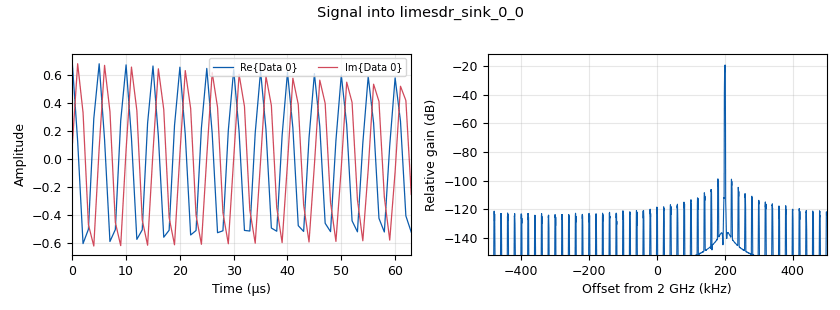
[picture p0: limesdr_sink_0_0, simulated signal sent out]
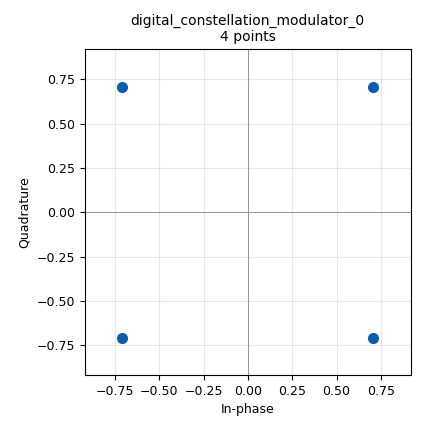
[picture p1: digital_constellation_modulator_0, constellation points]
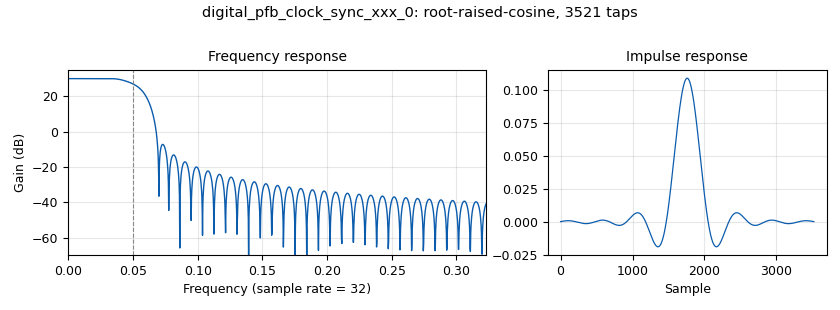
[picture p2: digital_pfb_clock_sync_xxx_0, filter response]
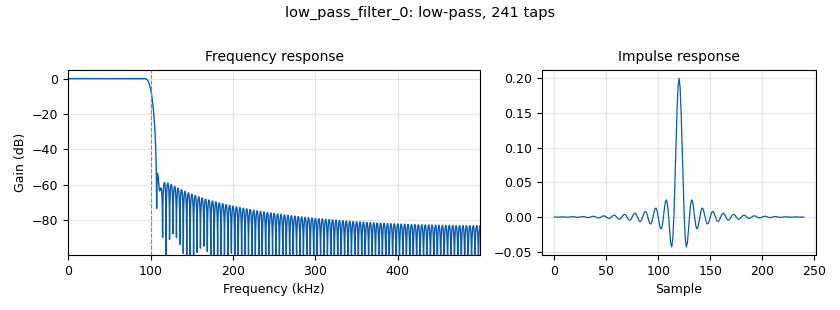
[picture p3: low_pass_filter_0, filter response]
options:
  parameters:
    generate_options: qt_gui
    id: top_block
    output_language: python
  states: {}

blocks:
- name: arity
  id: variable
  parameters:
    value: '4'
  states: {}
- name: center_freq
  id: variable_qtgui_range
  parameters:
    label: Center Frequency
    orient: Qt.Horizontal
    start: 700e6
    step: 20e6
    stop: 3000e6
    value: 2e9
  states: {}
- name: eq_gain
  id: variable_qtgui_range
  parameters:
    orient: Qt.Horizontal
    start: '0'
    step: '1e-3'
    stop: '1'
    value: '10e-3'
  states: {}
- name: excess_bw
  id: variable
  parameters:
    value: '0.35'
  states: {}
- name: nfilts
  id: variable
  parameters:
    value: '32'
  states: {}
- name: phase_bw
  id: variable_qtgui_range
  parameters:
    orient: Qt.Horizontal
    start: '0'
    step: '1e-3'
    stop: '2'
    value: '200e-3'
  states: {}
- name: qpsk
  id: variable_constellation_rect
  parameters:
    const_points: '[0.707+0.707j, -0.707+0.707j, -0.707-0.707j, 0.707-0.707j]'
    imag_sect: '2'
    real_sect: '2'
    rot_sym: '4'
    sym_map: '[0, 1, 2, 3]'
    w_imag_sect: '1'
    w_real_sect: '1'
  states: {}
- name: qpsk
  id: variable_constellation_rect
  parameters:
    const_points: '[2, -2]'
    imag_sect: '2'
    real_sect: '2'
    rot_sym: '4'
    sym_map: '[0, 1]'
    w_imag_sect: '1'
    w_real_sect: '1'
  states: {state: disabled}
- name: rrc_taps
  id: variable_rrc_filter_taps
  parameters:
    alpha: '0.35'
    gain: '1.0'
    ntaps: '300'
    samp_rate: samp_rate
    sym_rate: samp_rate/sps
  states: {state: disabled}
- name: rrc_taps
  id: variable
  parameters:
    value: firdes.root_raised_cosine(nfilts, nfilts, 1.0/float(sps), 0.35, 11*sps*nfilts)
  states: {}
- name: rx_gain
  id: variable_qtgui_range
  parameters:
    label: Rx Gain
    orient: Qt.Horizontal
    rangeType: int
    start: '0'
    step: '1'
    stop: '60'
    value: '53'
  states: {}
- name: samp_rate
  id: variable
  parameters:
    value: 1e6
  states: {}
- name: signal_bandwidth
  id: variable
  parameters:
    value: 100e3
  states: {}
- name: sps
  id: variable
  parameters:
    value: '10'
  states: {}
- name: taps_0
  id: variable
  parameters:
    value: '[1.0 + 0.0j, ]'
  states: {state: disabled}
- name: timing_loop_bw
  id: variable_qtgui_range
  parameters:
    orient: Qt.Horizontal
    start: '0'
    step: '10e-3'
    stop: '1'
    value: '62.8e-3'
  states: {}
- name: tone_freq_offset
  id: variable_qtgui_range
  parameters:
    min_len: '1000'
    orient: Qt.Horizontal
    start: '0'
    step: 1e3
    stop: 4*signal_bandwidth
    value: 2*signal_bandwidth
  states: {}
- name: tx_gain
  id: variable_qtgui_range
  parameters:
    label: Tx Gain
    orient: Qt.Horizontal
    rangeType: int
    start: '0'
    step: '1'
    stop: '60'
    value: '53'
  states: {}
- name: analog_random_source_x_0
  id: analog_random_source_x
  parameters:
    max: '256'
    min: '0'
    num_samps: '1000'
    repeat: 'True'
    type: byte
  states: {}
- name: analog_sig_source_x_0
  id: analog_sig_source_x
  parameters:
    amp: '1'
    freq: tone_freq_offset
    offset: '0'
    phase: '0'
    samp_rate: samp_rate
    type: complex
    waveform: analog.GR_COS_WAVE
  states: {}
- name: analog_sig_source_x_0_0
  id: analog_sig_source_x
  parameters:
    amp: '1'
    freq: '-tone_freq_offset'
    offset: '0'
    phase: '0'
    samp_rate: samp_rate
    type: complex
    waveform: analog.GR_COS_WAVE
  states: {}
- name: blocks_multiply_xx_0
  id: blocks_multiply_xx
  parameters:
    type: complex
  states: {}
- name: blocks_multiply_xx_0_0
  id: blocks_multiply_xx
  parameters:
    type: complex
  states: {}
- name: digital_cma_equalizer_cc_0
  id: digital_cma_equalizer_cc
  parameters:
    modulus: '1'
    mu: eq_gain
    num_taps: '32'
    sps: '1'
  states: {state: disabled}
- name: digital_constellation_modulator_0
  id: digital_constellation_modulator
  parameters:
    constellation: qpsk
    differential: 'True'
    excess_bw: excess_bw
    samples_per_symbol: sps
  states: {}
- name: digital_costas_loop_cc_0
  id: digital_costas_loop_cc
  parameters:
    order: arity
    w: phase_bw
  states: {}
- name: digital_lms_dd_equalizer_cc_0
  id: digital_lms_dd_equalizer_cc
  parameters:
    cnst: qpsk
    mu: '8e-3'
    num_taps: '8'
    sps: sps
  states: {state: disabled}
- name: digital_pfb_clock_sync_xxx_0
  id: digital_pfb_clock_sync_xxx
  parameters:
    filter_size: nfilts
    init_phase: nfilts/2
    loop_bw: timing_loop_bw
    max_dev: '1.5'
    osps: '1'
    sps: sps*1.000
    taps: rrc_taps
    type: ccf
  states: {}
- name: digital_symbol_sync_xx_0
  id: digital_symbol_sync_xx
  parameters:
    damping: '1.0'
    loop_bw: '0.045'
    max_dev: '1.5'
    osps: '1'
    resamp_type: digital.IR_MMSE_8TAP
    sps: sps
    ted_gain: '1.0'
    ted_type: digital.TED_MUELLER_AND_MULLER
    type: cc
  states: {state: disabled}
- name: interp_fir_filter_xxx_0
  id: interp_fir_filter_xxx
  parameters:
    interp: '50'
    taps: rrc_taps
    type: ccc
  states: {}
- name: limesdr_sink_0
  id: limesdr_sink
  parameters:
    allow_tcxo_dac: '0'
    channel_mode: '0'
    gain_dB_ch0: tx_gain
    oversample: '0'
    rf_freq: 100e6
    samp_rate: samp_rate
  states: {state: disabled}
- name: limesdr_sink_0_0
  id: limesdr_sink
  parameters:
    allow_tcxo_dac: '0'
    analog_bandw_ch0: 5*samp_rate
    channel_mode: '0'
    gain_dB_ch0: tx_gain
    oversample: '0'
    rf_freq: center_freq
    samp_rate: samp_rate
  states: {}
- name: limesdr_source_0
  id: limesdr_source
  parameters:
    allow_tcxo_dac: '0'
    ch_align: 'False'
    channel_mode: '0'
    gain_dB_ch0: rx_gain
    oversample: '0'
    rf_freq: 100e6
    samp_rate: samp_rate
  states: {state: disabled}
- name: limesdr_source_0_0
  id: limesdr_source
  parameters:
    allow_tcxo_dac: '0'
    analog_bandw_ch0: 5*samp_rate
    ch_align: 'False'
    channel_mode: '0'
    gain_dB_ch0: rx_gain
    oversample: '0'
    rf_freq: center_freq
    samp_rate: samp_rate
  states: {}
- name: low_pass_filter_0
  id: low_pass_filter
  parameters:
    cutoff_freq: signal_bandwidth
    decim: '50'
    gain: '1'
    samp_rate: samp_rate
    type: fir_filter_ccf
    width: 10e3
    win: firdes.WIN_HAMMING
  states: {}
- name: note_0
  id: note
  parameters:
    note: esta variable sps debe siempre de ser igual a samp_rate/signal_bandwidth
  states: {}
- name: qtgui_const_sink_x_0
  id: qtgui_const_sink_x
  parameters:
    alpha1: '0.6'
    label1: Locked
    name: '"Salida del Costas loop"'
    size: '1024'
    type: complex
  states: {}
- name: qtgui_const_sink_x_0_0
  id: qtgui_const_sink_x
  parameters:
    alpha1: '0.6'
    label1: Equalized
    name: '"Salida del equalizador"'
    size: '1024'
    type: complex
  states: {state: disabled}
- name: qtgui_freq_sink_x_0
  id: qtgui_freq_sink_x
  parameters:
    alpha1: '0.5'
    bw: samp_rate
    fc: '0'
    fftsize: '1024'
    grid: 'True'
    label1: Tx
    showports: 'True'
    type: complex
    units: dBm
    wintype: firdes.WIN_HAMMING
  states: {state: disabled}
- name: qtgui_freq_sink_x_0_0
  id: qtgui_freq_sink_x
  parameters:
    alpha1: '0.5'
    bw: samp_rate
    fc: '0'
    fftsize: '1024'
    grid: 'True'
    label1: Tx
    showports: 'True'
    type: complex
    units: dBm
    wintype: firdes.WIN_HAMMING
  states: {state: disabled}
- name: rational_resampler_xxx_0
  id: rational_resampler_xxx
  parameters:
    decim: '1'
    interp: '1'
    taps: ''
    type: ccc
  states: {state: disabled}

connections:
- [analog_random_source_x_0, '0', digital_constellation_modulator_0, '0']
- [analog_sig_source_x_0, '0', blocks_multiply_xx_0, '1']
- [analog_sig_source_x_0_0, '0', blocks_multiply_xx_0_0, '1']
- [blocks_multiply_xx_0, '0', limesdr_sink_0_0, '0']
- [blocks_multiply_xx_0, '0', qtgui_freq_sink_x_0_0, '0']
- [blocks_multiply_xx_0_0, '0', low_pass_filter_0, '0']
- [digital_cma_equalizer_cc_0, '0', digital_costas_loop_cc_0, '0']
- [digital_cma_equalizer_cc_0, '0', qtgui_const_sink_x_0_0, '0']
- [digital_cma_equalizer_cc_0, '0', qtgui_freq_sink_x_0, '0']
- [digital_constellation_modulator_0, '0', interp_fir_filter_xxx_0, '0']
- [digital_costas_loop_cc_0, '0', digital_lms_dd_equalizer_cc_0, '0']
- [digital_costas_loop_cc_0, '0', qtgui_const_sink_x_0, '0']
- [digital_lms_dd_equalizer_cc_0, '0', qtgui_const_sink_x_0, '0']
- [digital_pfb_clock_sync_xxx_0, '0', digital_cma_equalizer_cc_0, '0']
- [digital_pfb_clock_sync_xxx_0, '0', digital_costas_loop_cc_0, '0']
- [digital_pfb_clock_sync_xxx_0, '0', rational_resampler_xxx_0, '0']
- [interp_fir_filter_xxx_0, '0', blocks_multiply_xx_0, '0']
- [limesdr_source_0_0, '0', blocks_multiply_xx_0_0, '0']
- [low_pass_filter_0, '0', digital_pfb_clock_sync_xxx_0, '0']
- [rational_resampler_xxx_0, '0', digital_costas_loop_cc_0, '0']

metadata:
  file_format: 1
